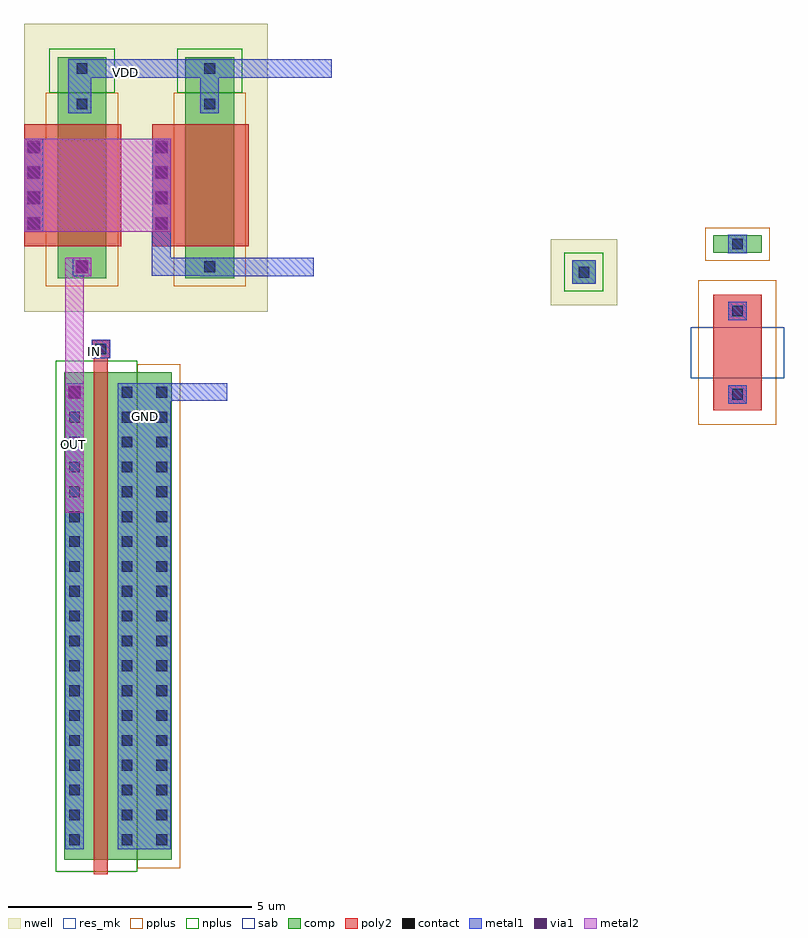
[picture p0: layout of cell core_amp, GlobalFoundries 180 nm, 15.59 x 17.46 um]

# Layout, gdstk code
from math import pi, radians
import gdstk
lib = gdstk.Library(unit=1e-6, precision=5e-09)
def R(c, l, rs):  # rectangles x0, y0, x1, y1
    for r in rs: c.add(gdstk.rectangle(r[:2], r[2:], *l))
def A(c, l, x, y, w, h, nx, ny, dx, dy):  # array of equal rectangles
    R(c, l, [(x+i*dx, y+j*dy, x+i*dx+w, y+j*dy+h) for i in range(nx) for j in range(ny)])
def P(c, l, *ps):  # polygons
    for p in ps: c.add(gdstk.Polygon(p, *l))
nwell = (21, 0)
comp = (22, 0)
poly2 = (30, 0)
pplus = (31, 0)
nplus = (32, 0)
contact = (33, 0)
metal1 = (34, 0)
via1 = (35, 0)
metal2 = (36, 0)
sab = (49, 0)
res_mk = (110, 5)

nfet = lib.new_cell('nfet')
R(nfet, comp, [(-0.42,0,0,10), (0,0,0.66,10), (0.66,0,1.08,10), (1.08,0,1.79,10)])
R(nfet, poly2, [(0.19,-0.3,0.47,10.3), (0.15,10.3,0.51,10.66)])
R(nfet, pplus, [(1.08,-0.17,1.96,10.17)])
R(nfet, nplus, [(-0.59,-0.24,1.08,10.24)])
A(nfet, contact, -0.32, 0.3, 0.22, 0.22, 1, 19, 0, 0.51)
A(nfet, contact, 0.76, 0.3, 0.22, 0.22, 1, 19, 0, 0.51)
A(nfet, contact, 1.47, 0.3, 0.22, 0.22, 1, 19, 0, 0.51)
R(nfet, contact, [(0.22,10.37,0.44,10.59)])
R(nfet, metal1, [(-0.4,0.22,-0.02,9.78), (0.68,0.22,1.06,9.78), (1.39,0.22,1.77,9.78), (0.14,10.29,0.52,10.67)])
nfet.add(gdstk.Label('G', (0.33,10.48), layer=34, texttype=10))
nfet.add(gdstk.Label('B', (1.58,5), layer=34, texttype=10))

pfet = lib.new_cell('pfet')
R(pfet, nwell, [(-1.15,-0.69,4.76,1.69)])
R(pfet, comp, [(-0.46,0,0,1), (0,0,2.88,1), (2.88,0,3.34,1), (3.34,0,4.07,1)])
R(pfet, poly2, [(0.19,-0.3,2.69,1.3), (0.19,1.3,2.69,1.68)])
R(pfet, pplus, [(-0.63,-0.24,3.34,1.24)])
R(pfet, nplus, [(3.34,-0.17,4.24,1.17)])
A(pfet, contact, 0.565, 1.38, 0.22, 0.22, 4, 1, 0.51, 0)
R(pfet, contact, [(-0.34,0.39,-0.12,0.61), (3,0.39,3.22,0.61), (3.73,0.39,3.95,0.61)])
R(pfet, metal1, [(-0.42,0.31,-0.04,0.69), (2.92,0.31,3.3,0.69), (3.65,0.31,4.03,0.69), (0.485,1.3,2.395,1.68)])
pfet.add(gdstk.Label('G', (1.44,1.49), layer=34, texttype=10))
pfet.add(gdstk.Label('B', (3.84,0.5), layer=34, texttype=10))

ppolyf_u_resistor = lib.new_cell('ppolyf_u_resistor')
R(ppolyf_u_resistor, comp, [(-1.88,0,-1.52,1)])
R(ppolyf_u_resistor, poly2, [(-0.66,0,1.71,1)])
R(ppolyf_u_resistor, pplus, [(-0.96,-0.3,2.01,1.3), (-2.04,-0.16,-1.36,1.16)])
R(ppolyf_u_resistor, contact, [(-1.81,0.39,-1.59,0.61), (-0.44,0.39,-0.22,0.61), (1.27,0.39,1.49,0.61)])
R(ppolyf_u_resistor, metal1, [(-1.89,0.31,-1.51,0.69), (-0.52,0.31,-0.14,0.69), (1.19,0.31,1.57,0.69)])
R(ppolyf_u_resistor, sab, [(0,-0.455,1.05,1.455)])
R(ppolyf_u_resistor, res_mk, [(0,0,1.05,1)])
ppolyf_u_resistor.add(gdstk.Label('0', (-0.33,0.5), layer=34, texttype=10))
ppolyf_u_resistor.add(gdstk.Label('1', (1.38,0.5), layer=34, texttype=10))
ppolyf_u_resistor.add(gdstk.Label('s', (-1.7,0.5), layer=34, texttype=10))

n_tap_cell = lib.new_cell('N_TAP_CELL')
R(n_tap_cell, nwell, [(21.6,16.415,22.96,17.775)])
R(n_tap_cell, comp, [(22.04,16.855,22.52,17.335)])
R(n_tap_cell, nplus, [(21.885,16.695,22.68,17.495)])
R(n_tap_cell, contact, [(22.17,16.985,22.39,17.205)])
R(n_tap_cell, metal1, [(22.04,16.855,22.52,17.335)])

core_amp = lib.new_cell('core_amp')
R(core_amp, nwell, [(2.65,15.34,2.89,21.25)])
R(core_amp, metal1, [(4.27,16.07,6.215,16.45), (2.89,16.075,3.89,16.45), (2.89,16.45,3.28,16.975), (1.175,19.41,1.27,20.52), (3.89,19.785,4.27,20.14), (1.27,19.79,1.65,20.14), (1.65,20.14,3.89,20.52), (4.27,20.14,6.585,20.52)])
P(core_amp, metal1, [(2.575,4.315),(2.575,13.875),(4.44,13.875),(4.44,13.515),(2.905,13.515),(2.905,4.315)])
A(core_amp, via1, 0.34, 17.545, 0.26, 0.26, 1, 3, 0, 0.52)
A(core_amp, via1, 2.96, 17.545, 0.26, 0.26, 1, 3, 0, 0.52)
R(core_amp, via1, [(1.175,13.555,1.435,13.815), (1.33,16.13,1.59,16.39), (1.35,16.15,1.57,16.37), (0.34,17.015,0.6,17.275), (2.96,17.015,3.22,17.275)])
R(core_amp, metal2, [(1.115,11.21,1.495,16.45), (1.195,16.07,1.65,16.45), (0.28,16.975,3.28,18.885)])
core_amp.add(gdstk.Reference(nfet, (1.515,4.095)))
r = gdstk.Reference(pfet, (4.58,16.49), rotation=pi/2); r.repetition = gdstk.Repetition(1, 1, v1=(0,0), v2=(0,0)); core_amp.add(r)
r = gdstk.Reference(pfet, (1.96,16.49), rotation=pi/2); r.repetition = gdstk.Repetition(1, 1, v1=(0,0), v2=(0,0)); core_amp.add(r)
r = gdstk.Reference(ppolyf_u_resistor, (14.405,15.025), rotation=3*pi/2); r.repetition = gdstk.Repetition(1, 1, v1=(0,0), v2=(0,0)); core_amp.add(r)
r = gdstk.Reference(n_tap_cell, (28.85,-6.13), rotation=pi/2); r.repetition = gdstk.Repetition(1, 1, v1=(0,0), v2=(0,0)); core_amp.add(r)
core_amp.add(gdstk.Label('IN', (1.725,14.52), layer=34, texttype=10))
core_amp.add(gdstk.Label('GND', (2.755,13.19), layer=34, texttype=10))
core_amp.add(gdstk.Label('OUT', (1.29,12.61), layer=34, texttype=10))
core_amp.add(gdstk.Label('VDD', (2.35,20.24), layer=34, texttype=10))

lib.write_gds('core_amp.gds')
